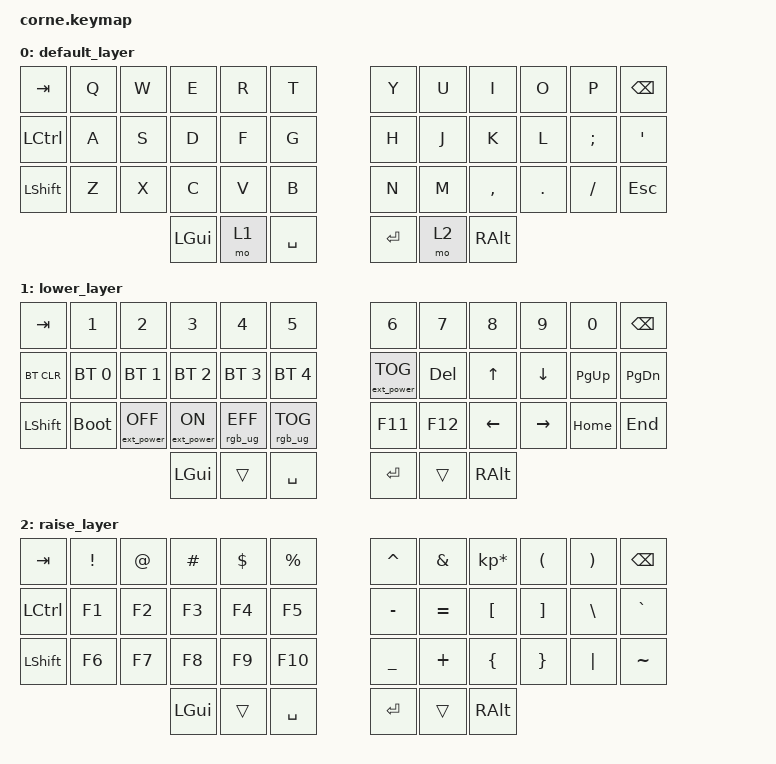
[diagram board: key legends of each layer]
/*
 * Copyright (c) 2020 The ZMK Contributors
 *
 * SPDX-License-Identifier: MIT
 */

#include <behaviors.dtsi>
#include <dt-bindings/zmk/bt.h>
#include <dt-bindings/zmk/ext_power.h>
#include <dt-bindings/zmk/keys.h>
#include <dt-bindings/zmk/outputs.h>
#include <dt-bindings/zmk/rgb.h>


/ {
    keymap {
        compatible = "zmk,keymap";

        default_layer {
            // -----------------------------------------------------------------------------------------
            // |  TAB |  Q  |  W  |  E  |  R  |  T  |   |  Y  |  U   |  I  |  O  |  P  | BKSP |
            // | CTRL |  A  |  S  |  D  |  F  |  G  |   |  H  |  J   |  K  |  L  |  ;  |  '   |
            // | SHFT |  Z  |  X  |  C  |  V  |  B  |   |  N  |  M   |  ,  |  .  |  /  | ESC  |
            //                    | GUI | LWR | SPC |   | ENT | RSE  | ALT |

            bindings = <
&kp TAB    &kp Q  &kp W  &kp E     &kp R  &kp T        &kp Y    &kp U  &kp I      &kp O    &kp P     &kp BSPC
&kp LCTRL  &kp A  &kp S  &kp D     &kp F  &kp G        &kp H    &kp J  &kp K      &kp L    &kp SEMI  &kp SQT
&kp LSHFT  &kp Z  &kp X  &kp C     &kp V  &kp B        &kp N    &kp M  &kp COMMA  &kp DOT  &kp FSLH  &kp ESC
                         &kp LGUI  &mo 1  &kp SPACE    &kp RET  &mo 2  &kp RALT
            >;
        };

        lower_layer {
            // -----------------------------------------------------------------------------------------
            // |  TAB |  1  |  2  |  3  |  4  |  5  |   |  6  |  7  |  8  |  9  |  0  | BKSP |
            // | BTCLR| BT1 | BT2 | BT3 | BT4 | BT5 |   | LFT | DWN |  UP | RGT |     |      |
            // | SHFT |     |     |     |     |     |   |     |     |     |     |     |      |
            //                    | GUI |     | SPC |   | ENT |     | ALT |

            bindings = <
&kp TAB     &kp N1        &kp N2             &kp N3            &kp N4           &kp N5             &kp N6             &kp N7   &kp N8    &kp N9     &kp N0       &kp BSPC
&bt BT_CLR  &bt BT_SEL 0  &bt BT_SEL 1       &bt BT_SEL 2      &bt BT_SEL 3     &bt BT_SEL 4       &ext_power EP_TOG  &kp DEL  &kp UP    &kp DOWN   &kp PAGE_UP  &kp PAGE_DOWN
&kp LSHFT   &bootloader   &ext_power EP_OFF  &ext_power EP_ON  &rgb_ug RGB_EFF  &rgb_ug RGB_TOG    &kp F11            &kp F12  &kp LEFT  &kp RIGHT  &kp HOME     &kp END
                                             &kp LGUI          &trans           &kp SPACE          &kp RET            &trans   &kp RALT
            >;
        };

        raise_layer {
            // -----------------------------------------------------------------------------------------
            // |  TAB |  !  |  @  |  #  |  $  |  %  |   |  ^  |  &  |  *  |  (  |  )  | BKSP |
            // | CTRL |     |     |     |     |     |   |  -  |  =  |  [  |  ]  |  \  |  `   |
            // | SHFT |     |     |     |     |     |   |  _  |  +  |  {  |  }  | "|" |  ~   |
            //                    | GUI |     | SPC |   | ENT |     | ALT |

            bindings = <
&kp TAB    &kp EXCL  &kp AT  &kp HASH  &kp DLLR  &kp PRCNT    &kp CARET  &kp AMPS   &kp KP_MULTIPLY  &kp LPAR  &kp RPAR  &kp BSPC
&kp LCTRL  &kp F1    &kp F2  &kp F3    &kp F4    &kp F5       &kp MINUS  &kp EQUAL  &kp LBKT         &kp RBKT  &kp BSLH  &kp GRAVE
&kp LSHFT  &kp F6    &kp F7  &kp F8    &kp F9    &kp F10      &kp UNDER  &kp PLUS   &kp LBRC         &kp RBRC  &kp PIPE  &kp TILDE
                             &kp LGUI  &trans    &kp SPACE    &kp RET    &trans     &kp RALT
            >;
        };
    };
};
